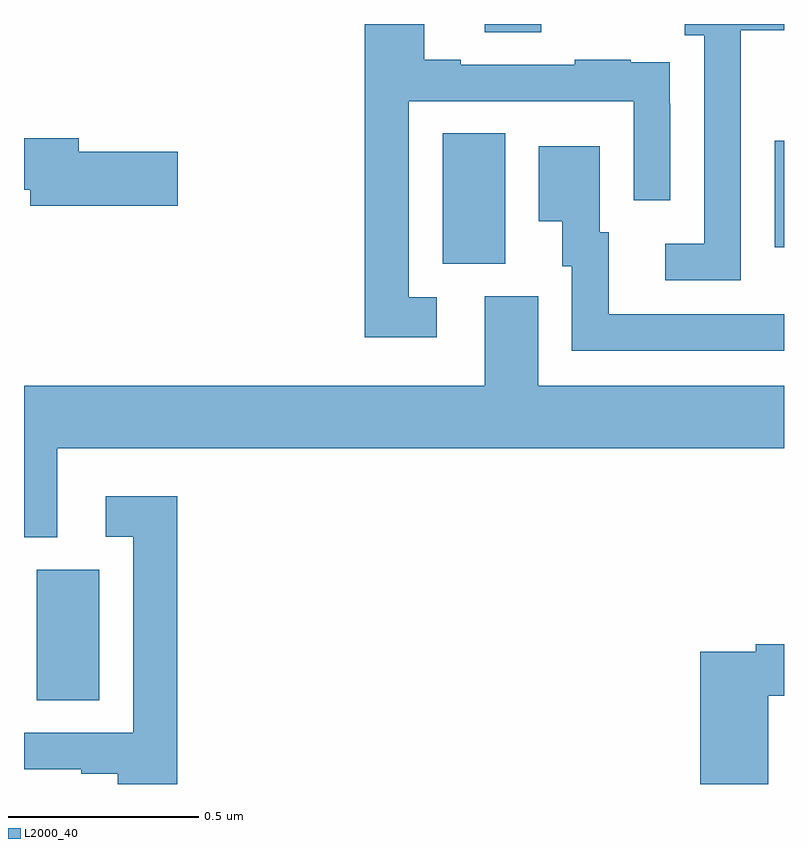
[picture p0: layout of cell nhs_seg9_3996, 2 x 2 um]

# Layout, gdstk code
import gdstk
lib = gdstk.Library(unit=1e-6, precision=1e-09)
def R(c, l, rs):  # rectangles x0, y0, x1, y1
    for r in rs: c.add(gdstk.rectangle(r[:2], r[2:], *l))
def P(c, l, *ps):  # polygons
    for p in ps: c.add(gdstk.Polygon(p, *l))
L2000_40 = (2000, 40)

nhs_seg9_3996 = lib.new_cell('nhs_seg9_3996')
R(nhs_seg9_3996, L2000_40, [(160.034,1231.72,160.198,1232.064), (161.102,1232.869,161.266,1233.212), (161.975,1232.913,162,1233.193), (161.213,1233.478,161.361,1233.5)])
P(nhs_seg9_3996, L2000_40, [(161.086,1232.781),(161.013,1232.781),(161.013,1233.297),(161.604,1233.297),(161.604,1233.036),(161.7,1233.036),(161.7,1233.29),(161.699,1233.29),(161.699,1233.399),(161.597,1233.399),(161.597,1233.406),(161.449,1233.406),(161.449,1233.393),(161.149,1233.393),(161.149,1233.406),(161.053,1233.406),(161.053,1233.5),(160.897,1233.5),(160.897,1232.676),(161.086,1232.676)],
  [(161.886,1233.483),(162,1233.483),(162,1233.5),(161.739,1233.5),(161.739,1233.47),(161.79,1233.47),(161.79,1232.922),(161.688,1232.922),(161.688,1232.826),(161.886,1232.826)],
  [(160.405,1233.164),(160.144,1233.164),(160.144,1233.2),(160,1233.2),(160,1233.064),(160.016,1233.064),(160.016,1233.022),(160.405,1233.022)],
  [(162,1232.736),(161.539,1232.736),(161.539,1232.952),(161.515,1232.952),(161.515,1233.178),(161.354,1233.178),(161.354,1232.981),(161.417,1232.981),(161.417,1232.862),(161.442,1232.862),(161.442,1232.64),(162,1232.64)],
  [(160.087,1232.384),(162,1232.384),(162,1232.548),(161.353,1232.548),(161.353,1232.784),(161.213,1232.784),(161.213,1232.548),(160,1232.548),(160,1232.149),(160.087,1232.149)],
  [(160.403,1232.257),(160.215,1232.257),(160.215,1232.151),(160.287,1232.151),(160.287,1231.635),(160,1231.635),(160,1231.539),(160.151,1231.539),(160.151,1231.527),(160.247,1231.527),(160.247,1231.5),(160.403,1231.5)],
  [(161.958,1231.732),(162,1231.732),(162,1231.868),(161.926,1231.868),(161.926,1231.848),(161.78,1231.848),(161.78,1231.5),(161.958,1231.5)])

lib.write_gds('nhs_seg9_3996.gds')
